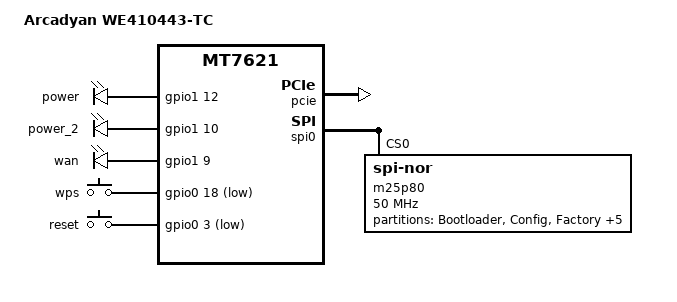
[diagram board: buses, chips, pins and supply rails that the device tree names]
/dts-v1/;

#include "mt7621.dtsi"
#include <dt-bindings/input/input.h>
#include "mt7621-raeth-gmac2.dtsi"
#include "mt7621-pinctrl-default-gpio.dtsi"

/ {
	compatible = "mediatek,mt7621-soc";
	model = "Arcadyan WE410443-TC";

	chosen {
		bootargs = "console=ttyS0,57600";
	};

	leds {
		compatible = "gpio-leds";

		sys_red {
			label = "power";
			gpios = <&gpio1 12 GPIO_ACTIVE_HIGH>;
		};

		sys_orange {
			label = "power_2";
			gpios = <&gpio1 10 GPIO_ACTIVE_HIGH>;
		};

		sys_blue {
			label = "wan";
			gpios = <&gpio1 9 GPIO_ACTIVE_HIGH>;
		};
	};

	gpio-keys-polled {
		compatible = "gpio-keys-polled";
		#address-cells = <1>;
		#size-cells = <0>;
		poll-interval = <20>;

		wps {
			label = "wps";
			gpios = <&gpio0 18 GPIO_ACTIVE_LOW>;
			linux,code = <KEY_WPS_BUTTON>;
		};

		reset {
			label = "reset";
			gpios = <&gpio0 3 GPIO_ACTIVE_LOW>;
			linux,code = <KEY_RESTART>;
		};
	};

};

&pcie {
	status = "okay";
};

&spi0 {
        status = "okay";

        m25p80@0 {
                #address-cells = <1>;
                #size-cells = <1>;
                compatible = "jedec,spi-nor";
                reg = <0>;
                spi-max-frequency = <50000000>;
                m25p,fast-read;

                partition@0 {
                        label = "Bootloader";
                        reg = <0x00000 0x30000>; /* 192K */
                };

                partition@30000 {
                        label = "Config";
                        reg = <0x30000 0x10000>; /* 64K */
                };

                partition@40000 {
                        label = "Factory";
                        reg = <0x40000 0x10000>; /* 64K */
                };

                partition@50000 {
                        label = "firmware";
                        reg = <0x50000 0x730000>; /* (0x7b0000 - 0x80000) = 0x730000 */
                };

                partition@780000 {
                        label = "Storage";
                        reg = <0x780000 0x80000>; /* 512K */
                };

                partition@800000 {
                        label = "Reversed";
                        reg = <0x800000 0x7f0000>; /* 8128K: crash_dump(64k),Kernel2(7872k),seccfg(64k),pricfg(64k),arc_log(64k) */
                };

                partition@ff0000 {
                        label = "board_data";
                        reg = <0xff0000 0x10000>; /* 64K */
                };

                partition@all {
                        label = "ALL";
                        reg = <0x0 0x1000000>;
                };
        };
};
